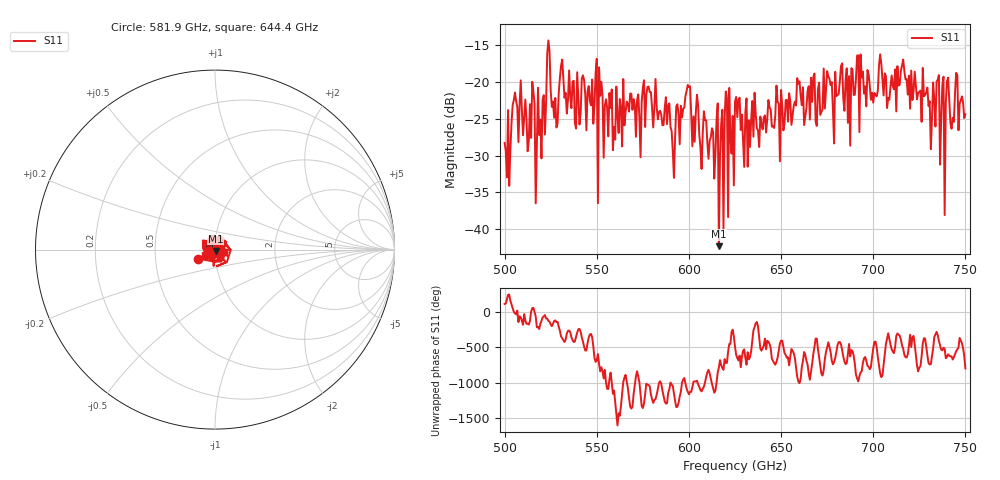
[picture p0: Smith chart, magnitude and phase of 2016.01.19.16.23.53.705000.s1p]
!Created with skrf (http://scikit-rf.org).
# GHz S RI R 50.0
!freq ReS11 ImS11
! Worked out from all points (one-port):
!   401 points, 500 GHz to 750 GHz, reference 50 ohm
!   lowest |S11| = -42.3 dB at 616.2 GHz (marker M1), VSWR 1.02, Z = 50.3 - j0.701 ohm
!   |S11| at or under -10 dB: start of sweep to end of sweep
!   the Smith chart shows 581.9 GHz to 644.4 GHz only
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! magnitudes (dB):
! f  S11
! 500 GHz  -28.3
! 505.6 GHz  -21.4
! 513.1 GHz  -28.0
! 515 GHz  -19.9
! 518.1 GHz  -20.7
! 523.8 GHz  -14.3
! 527.5 GHz  -22.1
! 531.2 GHz  -16.9
! 562.5 GHz  -22.3
! 578.1 GHz  -20.6
! 588.1 GHz  -25.7
! 591.2 GHz  -29.4
! 593.8 GHz  -23.0
! 599.4 GHz  -20.4
! 602.5 GHz  -24.7
! 616.2 GHz  -42.3
! 617.5 GHz  -25.7
! 619.4 GHz  -24.8
! 625 GHz  -22.7
! 656.2 GHz  -24.6
! 676.2 GHz  -19.5
! 687.5 GHz  -28.6
! 718.8 GHz  -21.7
! 732.5 GHz  -20.0
! 734.4 GHz  -19.9
! 737.5 GHz  -20.4
! 740.6 GHz  -19.4
! 750 GHz  -24.4
